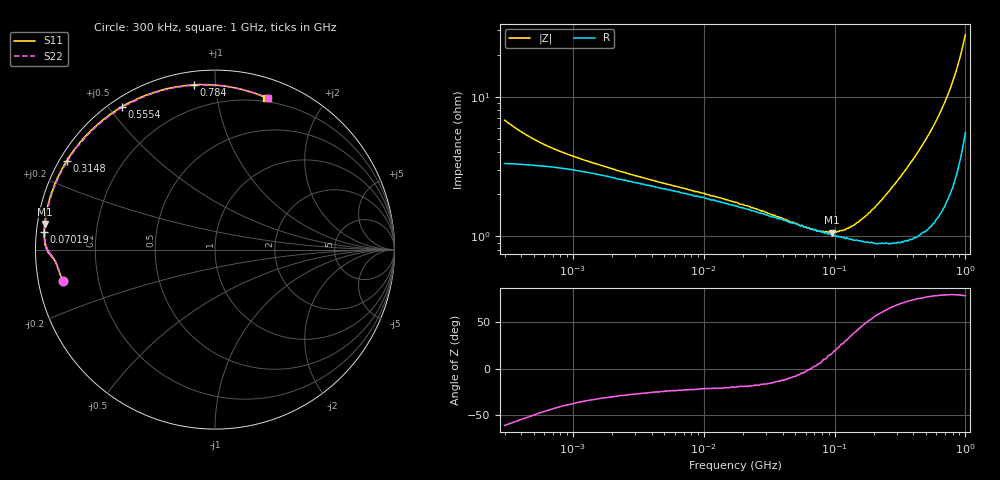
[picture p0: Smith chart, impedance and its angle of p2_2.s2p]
#  HZ  S  RI  R  50
! Rohde & Schwarz ZVA/B
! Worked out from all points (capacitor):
!   401 points, 300 kHz to 1 GHz, reference 50 ohm
!   read as one part in shunt: C = 87.2 nF near 312.4 kHz
!   lowest |Z| = 1.06 ohm at 95.14 MHz (marker M1)
!   series resonance near 65.41 MHz, so ESL is about 68 pH
!   S11 on the Smith chart (normalised r, x): 300 kHz: 0.07, -0.10; 70.19 MHz: 0.02, +0.05; 314.8 MHz: 0.02, +0.28; 555.4 MHz: 0.03, +0.54; 784 MHz: 0.07, +0.88; 1 GHz: 0.16, +1.38
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300000  -0.8484 -0.1746  0.1541 -0.1776  0.1548 -0.1782  -0.8466 -0.1742
574052.4  -0.8749 -0.1032  0.1256 -0.105  0.1257 -0.1052  -0.8737 -0.1034
1167356  -0.8914 -0.0636  0.1093 -0.0658  0.1093 -0.0657  -0.8905 -0.0634
4542403  -0.9163 -0.0293  0.0825 -0.035  0.0827 -0.0349  -0.9161 -0.0273
1.732051e7  -0.9381 0.00404  0.0618 -0.0222  0.0624 -0.0222  -0.9367 0.00384
3.45148e7  -0.9477 0.0354  0.0516 -0.0152  0.0511 -0.0153  -0.9461 0.0358
6.739735e7  -0.9507 0.0933  0.0428 -0.00325  0.0426 -0.00327  -0.9492 0.0975
7.018709e7  -0.9515 0.0997  0.0425 -0.00232  0.0422 -0.00219  -0.9485 0.1026
9.514044e7  -0.9476 0.1431  0.0401 0.00557  0.0402 0.00596  -0.947 0.1463
1.213533e8  -0.943 0.1875  0.04 0.0139  0.0406 0.0142  -0.9408 0.1935
1.516808e8  -0.9332 0.2388  0.042 0.0227  0.042 0.0228  -0.9274 0.2463
1.934715e8  -0.9126 0.3078  0.0471 0.0339  0.0468 0.0335  -0.9075 0.316
2.622557e8  -0.8682 0.418  0.0593 0.0493  0.0597 0.0496  -0.8599 0.4267
3.147674e8  -0.8244 0.4959  0.0725 0.0589  0.0727 0.0587  -0.8133 0.5067
4.266755e8  -0.7027 0.6508  0.1092 0.0705  0.1085 0.0708  -0.6893 0.6612
4.917542e8  -0.6157 0.7293  0.1339 0.0706  0.1341 0.0705  -0.6013 0.7357
5.553813e8  -0.5209 0.7937  0.1601 0.0652  0.1599 0.0654  -0.5048 0.799
6.665858e8  -0.3356 0.8772  0.2073 0.0422  0.2066 0.0416  -0.3193 0.8796
7.839956e8  -0.1184 0.9178  0.2513 -0.00368  0.2508 -0.00365  -0.1039 0.9157
8.854353e8  0.0739 0.9084  0.2795 -0.0597  0.2796 -0.0598  0.0847 0.9055
9.602529e8  0.2153 0.8731  0.2906 -0.1096  0.2898 -0.1092  0.2227 0.8716
1e9  0.2863 0.8462  0.2918 -0.138  0.2928 -0.1372  0.2934 0.8448
